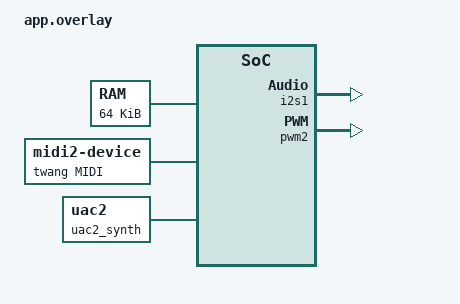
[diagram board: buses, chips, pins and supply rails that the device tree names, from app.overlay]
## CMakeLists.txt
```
# twang — Cortex-M85 audio-core image.
#
# Builds the portable engine (engine/) into a Zephyr application for the
# EK-RA8D2. No desktop dependencies (SDL/RtMidi/miniaudio) here; the control
# (M33) image is a separate application.

cmake_minimum_required(VERSION 3.20.0)

find_package(Zephyr REQUIRED HINTS $ENV{ZEPHYR_BASE})
project(twang_cm85)

# Portable audio engine — the C++ core shared with the desktop build.
set(ENGINE_DIR ${CMAKE_CURRENT_SOURCE_DIR}/../../../engine)
# The scope ring/tap (audio writes, UI reads) is shared with the cm33 image.
set(CONTROLLER_DIR ${CMAKE_CURRENT_SOURCE_DIR}/../../../controller)

target_sources(app PRIVATE
    src/main.cc
    src/usb_composite.cc
    ${ENGINE_DIR}/engine.cc
    ${ENGINE_DIR}/engine_audio.cc
    ${ENGINE_DIR}/ipc.cc
    ${ENGINE_DIR}/params.cc
    ${CONTROLLER_DIR}/scope_ring.cc
)

target_include_directories(app PRIVATE ${ENGINE_DIR} ${CONTROLLER_DIR})
```

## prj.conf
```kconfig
# C++ (the engine uses std::atomic, <cmath>, <cstdio> — full libstdc++).
CONFIG_CPP=y
CONFIG_STD_CPP20=y
CONFIG_REQUIRES_FULL_LIBCPP=y

# I2S audio out (SSIE1 + GPT PWM MCLK; the RA drivers auto-enable).
CONFIG_I2S=y
CONFIG_PWM=y
CONFIG_I2S_INIT_PRIORITY=52

# Dual-core IPC mailbox (M33 → M85 event notification).
CONFIG_MBOX=y

# Dual-core boot: the CM85 is the RA8D2 boot core and must release the CM33
# (control/UI) core. Enables R_BSP_SecondaryCoreStart in soc_late_init_hook.
CONFIG_SOC_RA_ENABLE_START_SECOND_CORE=y

# Initialize the external SDRAM (memc driver, POST_KERNEL) before the cm33 is
# released: the cm33 places the shared IPC block, the Panel, and the GLCDC
# framebuffers there. Without it, SDRAM reads return garbage and the panel
# sync faults.
CONFIG_MEMC=y

# USB composite device (UAC2 audio + MIDI 2.0) on the cm85's USB-HS UDC.
CONFIG_USB_DEVICE_STACK_NEXT=y
CONFIG_USBD_AUDIO2_CLASS=y
CONFIG_USBD_MIDI2_CLASS=y
CONFIG_LOG=y

# SEGGER RTT console (J-Link): loss counters + error lines readable over RTT.
CONFIG_USE_SEGGER_RTT=y
CONFIG_RTT_CONSOLE=y
```

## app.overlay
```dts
/*
 * twang cm85 — I2S audio output for the EK-RA8D2.
 *
 * SSIE1 (i2s1) feeds the on-board codec's I2S input; the GPT PWM (pwm2)
 * synthesizes the codec MCLK. 3.072 MHz = 48 kHz x 64, matching the engine's
 * kSampleRate (48000).
 *
 * NOTE: the PWM MCLK needs verification on hardware — if the GPT cannot
 * synthesize 3.072 MHz within the SSIE driver's tolerance, the frame rate
 * must be reconciled (re-tune the PWM, or run the engine at 44.1 kHz).
 */

#include <zephyr/dt-bindings/pwm/pwm.h>
#include <zephyr/dt-bindings/usb/audio.h>

/ {
	aliases {
		i2s-tx = &i2s1;
	};

	chosen {
		zephyr,dtcm = &dtcm;
	};

	// The audio engine's DSP state lives in the Cortex-M85 DTCM (tightly
	// coupled, per-core data memory): fast and off the shared SDRAM. The
	// chosen zephyr,dtcm node turns on the generic linker's .dtcm_bss section.
	dtcm: memory@20000000 {
		compatible = "zephyr,memory-region", "arm,dtcm";
		reg = <0x20000000 DT_SIZE_K(64)>;
		zephyr,memory-region = "DTCM";
	};
};

&pinctrl {
	ssie1_default: ssie1_default {
		group1 {
			/* SSI_BCK SSI_LRCK SSI_DATA */
			psels = <RA_PSEL(RA_PSEL_SSIE, 7, 2)>,
				<RA_PSEL(RA_PSEL_SSIE, 7, 1)>,
				<RA_PSEL(RA_PSEL_SSIE, 7, 0)>;
			drive-strength = "high";
		};
	};

	pwm2_default: pwm2_default {
		group1 {
			/* GTIOC2A */
			psels = <RA_PSEL(RA_PSEL_GPT1, 7, 13)>;
			drive-strength = "medium";
		};
	};
};

&i2s1 {
	pinctrl-0 = <&ssie1_default>;
	pinctrl-names = "default";
	interrupts = <95 1>, <94 1>;
	interrupt-names = "ssi_rt", "ssi_if";
	status = "okay";
	clocks = <&pclkb MSTPC 7>, <&ssi_internal_clock 0>;
	clock-names = "pclk", "audio-clock";
};

&pwm2 {
	pinctrl-0 = <&pwm2_default>;
	pinctrl-names = "default";
	interrupts = <93 1>, <92 1>;
	interrupt-names = "gtioca", "overflow";
	status = "okay";

	ssi_internal_clock: pwmclock {
		status = "okay";
		compatible = "pwm-clock";
		#clock-cells = <1>;
		pwms = <&pwm2 0 PWM_HZ(3072000) PWM_POLARITY_NORMAL>;
	};
};

/* Dual-core IPC: M33 → M85 notification (events pending on the shared ring).
 * The driver links EVENT_IPC_IRQ0 to this vector at runtime, so the number is
 * arbitrary — 29 is free (wired IRQs: 0..28, 92..95). */
&mbox0 {
	status = "okay";
	interrupts = <29 1>;
};

/*
 * Composite USB device on the board's USB-HS UDC (zephyr_udc0): UAC2 audio
 * (source-only instrument → host) + USB MIDI 2.0 (host → instrument).
 */

/ {
	usb_midi: usb_midi {
		compatible = "zephyr,midi2-device";
		status = "okay";
		#address-cells = <1>;
		#size-cells = <1>;
		label = "twang MIDI";

		midi_in_out@0 {
			reg = <0 1>;
			protocol = "midi1-up-to-128b";
			label = "MIDI-IN-OUT";
		};
	};

	uac2_synth: usb_audio2 {
		compatible = "zephyr,uac2";
		status = "okay";
		full-speed;
		high-speed;
		audio-function = <AUDIO_FUNCTION_MUSICAL_INSTRUMENT>;

		uac_aclk: aclk {
			compatible = "zephyr,uac2-clock-source";
			clock-type = "internal-fixed";
			frequency-control = "read-only";
			sampling-frequencies = <48000>;
		};

		/* The engine's audio output: the source entering the function. */
		engine_input: engine_input {
			compatible = "zephyr,uac2-input-terminal";
			clock-source = <&uac_aclk>;
			terminal-type = <INPUT_TERMINAL_UNDEFINED>;
			front-left;
			front-right;
		};

		/* Audio leaves the function to the host (device -> host capture). */
		usb_out: usb_out {
			compatible = "zephyr,uac2-output-terminal";
			data-source = <&engine_input>;
			clock-source = <&uac_aclk>;
			terminal-type = <USB_TERMINAL_STREAMING>;
		};

		/* One async isochronous IN stream; no feedback (source only). */
		as_iso_in: in_interface {
			compatible = "zephyr,uac2-audio-streaming";
			linked-terminal = <&usb_out>;
			subslot-size = <2>;
			bit-resolution = <16>;
		};
	};
};
```

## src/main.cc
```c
// twang cm85 — engine bring-up with USB audio output.
//
// Renders the engine (48 kHz, block-oriented) and streams it to the host over
// the UAC2 capture endpoint. The render clock is the SSIE I2S DMA: each
// completed transfer releases a tx_slab block, and the render loop refills it
// — so the SSIE's BCLK/WCLK (derived from the GPT PWM MCLK) paces the synth
// at exactly the 48 kHz the UAC2 descriptor claims. The on-board codec's J38
// analog output is unfitted; the I2S is used as the clock, not the sound
// output. The scope tap stays as the engine-vs-USB discriminator.

#include <errno.h>
#include <cstring>
#include <zephyr/device.h>
#include <zephyr/drivers/i2s.h>
#include <zephyr/kernel.h>
#include <zephyr/sys/printk.h>

#include "engine_audio.h"
#include "loss_counters.h"
#include "midi_ring.h"
#include "scope_tap.h"
#include "sdram_map.h"
#include "usb_composite.h"

namespace {

/// I2S frame: 16-bit stereo. One render block (64 mono frames) -> 64 frames.
constexpr int kFramesPerBlock = engine::kBlockSize;
constexpr int kBlockBytes = kFramesPerBlock * 2 * sizeof(int16_t);  // 256 B

/// In-flight DMA blocks; each is only 256 B, so a few is plenty.
constexpr int kNumBlocks = 4;

// Justified exception, not a pattern -- tx_slab is a Zephyr kernel memory slab:
// K_MEM_SLAB_DEFINE expands to a kernel object that must have static storage
// duration (it is registered with the kernel at build time, and the I2S driver
// holds a pointer to it for the process lifetime).
K_MEM_SLAB_DEFINE(tx_slab, WB_UP(kBlockBytes), kNumBlocks, 4);

/// The audio engine's complete DSP state. Static storage in DTCM (fast,
/// per-core tightly-coupled memory): the .dtcm_bss section attribute keeps the
/// ~3.5 KB struct off the small main-thread stack and off the shared SDRAM.
/// Zero-initialized by the C runtime (NOLOAD section).
engine::EngineAudio audio __attribute__((section(".dtcm_bss")));

/// Render one engine block into `buf` and tap the samples into the shared
/// scope ring so the UI core (cm33) can draw the scope.
void RenderTap(float *buf, ScopeTap *tap)
{
    engine::Render(audio, buf, engine::kBlockSize);
    tap->ring.Write(buf, engine::kBlockSize);
    tap->dirty.store(true, std::memory_order_relaxed);
}

/// Convert a mono float block into an interleaved 16-bit stereo block.
void ConvertToI16(const float *buf, int16_t *out)
{
    for (int i = 0; i < engine::kBlockSize; ++i) {
        float s = buf[i];
        if (s > 1.0f) s = 1.0f;
        if (s < -1.0f) s = -1.0f;
        const int16_t v = static_cast<int16_t>(s * 32767.0f);
        out[2 * i] = v;      // left
        out[2 * i + 1] = v;  // right (mono duplicated)
    }
}

}  // namespace

int main(void)
{
    // Reset the shared MIDI rings + loss counters before USB init. This core
    // (the producer) is the single owner of the rings; the cm33's control
    // thread waits on the boot magic before its first drain. Doing this here —
    // not inside usb::Init() — keeps it unconditional: usb::Init() can return
    // early on a failed device_is_ready and would otherwise leave the rings
    // uninitialized for the cm33's drain.
    reinterpret_cast<NoteRing *>(kNoteRingAddr)->Reset();
    reinterpret_cast<CcRing *>(kCcRingAddr)->Reset();
    LossCounters *loss = reinterpret_cast<LossCounters *>(kLossCountersAddr);
    loss->Reset();
    loss->boot_magic.store(kBootMagic, std::memory_order_release);

    // Bring up the composite USB device (UAC2 audio + MIDI 2.0). Best-effort:
    // the render + scope continue even if USB fails to enumerate.
    if (usb::Init() != 0) {
        printk("usb: composite init failed\n");
    }

    const struct device *i2s = DEVICE_DT_GET(DT_ALIAS(i2s_tx));
    if (device_is_ready(i2s)) {
        struct i2s_config cfg = {};
        cfg.word_size = 16U;
        cfg.channels = 2U;
        cfg.format = I2S_FMT_DATA_FORMAT_I2S;
        cfg.frame_clk_freq = engine::kSampleRate;  // 48000 Hz
        cfg.block_size = kBlockBytes;
        cfg.timeout = 1000;  // ms, not a k_timeout_t
        cfg.options = I2S_OPT_FRAME_CLK_CONTROLLER | I2S_OPT_BIT_CLK_CONTROLLER;
        cfg.mem_slab = &tx_slab;

        if (i2s_configure(i2s, I2S_DIR_TX, &cfg) < 0) {
            printk("i2s: configure failed\n");
        }

        // Prime the TX queue: START pulls one block with K_NO_WAIT and latches
        // I2S_STATE_ERROR (-ENOMEM) if the queue is empty, after which every
        // START returns -EIO until a PREPARE. Two silent blocks give the
        // driver one to send and one queued for the ISR to pick up.
        for (int i = 0; i < 2; ++i) {
            void *blk;
            if (k_mem_slab_alloc(&tx_slab, &blk, K_NO_WAIT) == 0) {
                std::memset(blk, 0, kBlockBytes);
                i2s_write(i2s, blk, kBlockBytes);
            }
        }

        const int rc = i2s_trigger(i2s, I2S_DIR_TX, I2S_TRIGGER_START);
        if (rc < 0) {
            printk("i2s: start failed %d\n", rc);
        }
    } else {
        printk("i2s: device not ready\n");
    }

    // Point the audio engine at the shared IPC block (fixed SDRAM address).
    // The control core (cm33) owns EngineControl: it has seeded the default
    // routes and queued the A4 test note; this core only renders.
    audio.ipc = reinterpret_cast<engine::SharedIpc *>(kSharedIpcAddr);

    // Reset the shared events + params before the render loop: this core's
    // render loop starts before the cm33 has run EngineControl::Init, so this
    // is the cold-boot safeguard against consuming uninitialized-SDRAM note
    // events and params. It is not "idempotent" — the two resets are safe
    // because each core resets before it begins its own side: the cm33
    // (producer) resets in EngineControl::Init before producing, and this core
    // (consumer) resets here before rendering. Neither resets while the other
    // is mid-flight.
    audio.ipc->events.Reset();
    audio.ipc->params.Reset(engine::k_params);

    // Reset the shared scope tap (fixed SDRAM address) before the render loop:
    // the SDRAM backing is uninitialized until a producer runs this.
    ScopeTap *tap = reinterpret_cast<ScopeTap *>(kScopeTapAddr);
    tap->Reset();

    // Render at the engine block rate, clocked by the SSIE I2S DMA: each
    // completed transfer returns a tx_slab block, and this loop refills it.
    // The scope tap is written in the same loop, so it animates at the render
    // rate. If the DMA never completes (clock fault), this loop blocks on
    // k_mem_slab_alloc after 4 blocks and the scope tap freezes — the
    // on-board diagnostic for the MCLK.
    for (;;) {
        void *blk;
        k_mem_slab_alloc(&tx_slab, &blk, K_FOREVER);

        int16_t *stereo = static_cast<int16_t *>(blk);
        float buf[engine::kBlockSize];
        RenderTap(buf, tap);
        ConvertToI16(buf, stereo);

        // Feed the UAC2 capture stream (the SOF callback drains it to the
        // host), then hand the block back to the SSIE DMA.
        usb::AudioPush(stereo, engine::kBlockSize);
        i2s_write(i2s, blk, kBlockBytes);
    }
    return 0;
}
```

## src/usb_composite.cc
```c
// USB composite device: UAC2 capture (source-only instrument) + MIDI 2.0.
//
// Register order is load-bearing: UAC2 must own interface 0 (see the brief's
// class-order note) or snd-usb-audio exposes no PCM device. The UAC2 audio
// stream is source-only: the render loop pushes int16-stereo blocks into a
// FIFO, and the SOF callback drains ~6 frames per HS microframe into
// usbd_uac2_send() — an asynchronous IN stream with no feedback endpoint (the
// host adapts to the device rate). See the brief §7.

#include "usb_composite.h"

#include <zephyr/usb/usbd.h>
// usbd_uac2.h lacks extern "C" guards (its declarations get C++ linkage when
// included from C++ and no longer resolve against the C definitions in
// usbd_uac2.c). Wrap it so the unmangled C symbols resolve.
extern "C" {
#include <zephyr/usb/class/usbd_uac2.h>
}
#include <zephyr/usb/class/usbd_midi2.h>
#include <zephyr/device.h>
#include <zephyr/devicetree.h>
#include <zephyr/kernel.h>
#include <zephyr/logging/log.h>
#include <zephyr/sys/util.h>

#include <atomic>
#include <cstdint>

#include "midi_ring.h"
#include "loss_counters.h"
#include "sdram_map.h"

LOG_MODULE_REGISTER(usb_composite, LOG_LEVEL_INF);

namespace {

// Terminal IDs are auto-assigned from the uac2_synth children order: aclk=1,
// engine_input=2, usb_out=3 (see app.overlay).
constexpr uint8_t kUsbOutTerminalId = 3;

// HS async IN: 6 stereo frames per 125 us microframe (nominal 48 kHz).
constexpr int kChannels = 2;
constexpr int kNominalFrames = 6;
constexpr int kMaxSendFrames = 8;   // allow 5..7 for drift
constexpr int kSendBytes = kMaxSendFrames * kChannels * sizeof(int16_t);  // 32

// Render -> USB FIFO of int16 stereo frames. Producer = render loop (main
// thread); consumer = SOF callback. Lock-free SPSC ring (monotonic indices).
constexpr int kFifoFrames = 512;  // power of two, ~10.7 ms at 48 kHz
constexpr int kFifoMask = kFifoFrames - 1;

struct Fifo {
    std::atomic<uint32_t> write{0};
    std::atomic<uint32_t> read{0};
    int16_t data[kFifoFrames * kChannels];
};

Fifo audio_fifo;

int FifoLevel()
{
    return static_cast<int>(audio_fifo.write.load(std::memory_order_relaxed) -
                            audio_fifo.read.load(std::memory_order_relaxed));
}

void FifoPush(const int16_t *stereo, int frames)
{
    const uint32_t w = audio_fifo.write.load(std::memory_order_relaxed);
    const uint32_t r = audio_fifo.read.load(std::memory_order_acquire);
    const uint32_t free = kFifoFrames - (w - r);
    if (static_cast<uint32_t>(frames) > free) {
        reinterpret_cast<LossCounters *>(kLossCountersAddr)
            ->fifo_overflow_frames.fetch_add(
                static_cast<uint32_t>(frames) - free,
                std::memory_order_relaxed);
        frames = static_cast<int>(free);  // drop on overflow (render faster)
    }
    for (int i = 0; i < frames; i++) {
        const uint32_t idx = (w + i) & kFifoMask;
        audio_fifo.data[idx * kChannels] = stereo[i * kChannels];
        audio_fifo.data[idx * kChannels + 1] = stereo[i * kChannels + 1];
    }
    audio_fifo.write.store(w + frames, std::memory_order_release);
}

int FifoPop(int16_t *stereo, int max_frames)
{
    const uint32_t r = audio_fifo.read.load(std::memory_order_relaxed);
    const uint32_t w = audio_fifo.write.load(std::memory_order_acquire);
    const uint32_t avail = w - r;
    const int n = (avail < static_cast<uint32_t>(max_frames))
                      ? static_cast<int>(avail)
                      : max_frames;
    for (int i = 0; i < n; i++) {
        const uint32_t idx = (r + i) & kFifoMask;
        stereo[i * kChannels] = audio_fifo.data[idx * kChannels];
        stereo[i * kChannels + 1] = audio_fifo.data[idx * kChannels + 1];
    }
    audio_fifo.read.store(r + n, std::memory_order_release);
    return n;
}

// Send buffers: usbd_uac2_send() references (does not copy) the buffer until
// buf_release_cb fires, so each send needs its own UDC-aligned persistent
// block. The slab is ISR-safe (K_NO_WAIT alloc / free) and the alignment keeps
// the buffers DMA/cache safe.
K_MEM_SLAB_DEFINE(send_slab, kSendBytes, 4, 32);

int SamplesToSend()
{
    // Drift compensation: steer the FIFO toward ~32 frames (~0.7 ms). The
    // render timer (~48012 Hz) runs slightly fast vs the host's 48 kHz, so
    // the FIFO otherwise grows without bound.
    const int level = FifoLevel();
    if (level > 64) return 7;
    if (level < 8)  return 5;
    return kNominalFrames;
}

// The async-IN send path is driven by buf_release_cb — it fires once per
// packet the host reads — NOT by SOF (the FSP SOF is a one-shot resume
// detector, armed only while suspended, so USBD_EVENT_SOF never arrives in
// normal operation; see the brief §7 note) and NOT by a free-running timer
// (which would drift against the host's IN tokens). Each completed packet
// enqueues the next, so the send rate tracks the host's consumption exactly.
//
// Priming is deferred to a work item: the driver calls terminal_update_cb
// BEFORE it sets as_active (usbd_uac2.c), so sending synchronously here would
// hit usbd_uac2_send()'s "not active" path, which calls buf_release_cb
// synchronously — an infinite recursion. The work runs after the SET_INTERFACE
// handler finishes (as_active set).
std::atomic<bool> terminal_enabled{false};  // set/cleared in terminal_update_cb
const struct device *g_uac2_dev = NULL;
constexpr int kTargetInFlight = 2;  // packets kept in flight (== slab depth)
struct k_work prime_work;  // prime on enable
struct k_work send_work;   // top-up on completion

// Dedicated send work queue: serializes SendPacket (PrimeHandler + SendHandler)
// off the shared system workqueue, which also runs logging and the USB stack.
K_THREAD_STACK_DEFINE(audio_queue_stack, 1024);
struct k_work_q audio_queue;

// @return true if a packet was sent (its slab block is now in flight);
//         false on any failure (no block available, or send rejected).
bool SendPacket(const struct device *dev)
{
    if (!terminal_enabled.load(std::memory_order_relaxed)) {
        return false;  // host disabled the stream
    }

    void *buf;
    if (k_mem_slab_alloc(&send_slab, &buf, K_NO_WAIT) != 0) {
        return false;  // all send buffers in flight; the next buf_release_cb drives it
    }

    int16_t *p = static_cast<int16_t *>(buf);
    const int n = SamplesToSend();
    const int got = FifoPop(p, n);
    // Short packet on underrun: send the frames actually produced, never a
    // zero-padded splice (zero-padding injects silence discontinuities).
    // got == 0 sends a zero-length packet.
    const int rc = usbd_uac2_send(dev, kUsbOutTerminalId, buf,
                                  got * kChannels * sizeof(int16_t));
    if (rc != 0) {
        k_mem_slab_free(&send_slab, buf);  // send rejected; return the buffer
        return false;
    }
    return true;
}

// Top up in-flight sends to kTargetInFlight. Self-healing: runs after any
// release (buf_release_cb) or re-enable (terminal_update_cb) and sends until
// the slab used-count — the in-flight count by construction — reaches target.
// The single audio_queue serializes SendPacket, so no re-entrancy guard.
void TopUpSends()
{
    while (g_uac2_dev && terminal_enabled.load(std::memory_order_relaxed) &&
           k_mem_slab_num_used_get(&send_slab) < kTargetInFlight) {
        if (!SendPacket(g_uac2_dev)) {
            break;
        }
    }
}

void PrimeHandler(struct k_work *work)
{
    ARG_UNUSED(work);
    TopUpSends();  // prime the stream on enable
}

void SendHandler(struct k_work *work)
{
    ARG_UNUSED(work);
    TopUpSends();  // top-up on completion
}

void Uac2SofCb(const struct device *dev, void *user_data)
{
    // FSP SOF never fires in normal operation (one-shot resume detector).
    ARG_UNUSED(dev);
    ARG_UNUSED(user_data);
}

void Uac2TerminalCb(const struct device *dev, uint8_t terminal, bool enabled,
                    bool microframes, void *user_data)
{
    ARG_UNUSED(terminal);
    ARG_UNUSED(microframes);
    ARG_UNUSED(user_data);

    terminal_enabled.store(enabled, std::memory_order_relaxed);
    if (enabled) {
        // Deferred: as_active is set only after this callback returns.
        k_work_submit_to_queue(&audio_queue, &prime_work);
    }
}

void Uac2BufReleaseCb(const struct device *dev, uint8_t terminal, void *buf,
                      void *user_data)
{
    ARG_UNUSED(dev);
    ARG_UNUSED(terminal);
    ARG_UNUSED(user_data);

    k_mem_slab_free(&send_slab, buf);  // the completed packet's buffer
    // Deferred: uac2_request frees the net_buf back to uac2_pool only AFTER
    // this callback returns, so re-enqueueing here would hit -ENOMEM (the pool
    // is 2 buffers). The work runs after the free, so the alloc succeeds.
    k_work_submit_to_queue(&audio_queue, &send_work);
}

const struct uac2_ops kUac2Ops = {
    .sof_cb = Uac2SofCb,
    .terminal_update_cb = Uac2TerminalCb,
    .buf_release_cb = Uac2BufReleaseCb,
};

// MIDI 2.0 rx: classify each packet's first UMP word and push it to the note
// ring (notes + CC 123) or the CC ring (everything else). Single-word UMP
// (MIDI 1.0 channel voice) is the X-Touch's only traffic; the cm33 drains the
// note ring first and feeds the interaction layer (surface map).
void MidiRxCb(const struct device *dev, const struct midi_ump ump)
{
    ARG_UNUSED(dev);
    const std::uint32_t word = ump.data[0];
    if (IsNoteWord(word)) {
        NoteRing *note = reinterpret_cast<NoteRing *>(kNoteRingAddr);
        if (!note->Push(word)) {
            reinterpret_cast<LossCounters *>(kLossCountersAddr)
                ->note_ring_full.fetch_add(1, std::memory_order_relaxed);
        }
    } else {
        CcRing *cc = reinterpret_cast<CcRing *>(kCcRingAddr);
        if (!cc->Push(word)) {
            reinterpret_cast<LossCounters *>(kLossCountersAddr)
                ->cc_ring_full.fetch_add(1, std::memory_order_relaxed);
        }
    }
}

const struct usbd_midi_ops kMidiOps = {
    .rx_packet_cb = MidiRxCb,
};

// The composite device context. VID/PID are the Zephyr sample values (the
// prototype has no purchased vendor ID).
USBD_DEVICE_DEFINE(twang_usbd, DEVICE_DT_GET(DT_NODELABEL(zephyr_udc0)),
                   0x2fe3, 0x000f);

USBD_DESC_LANG_DEFINE(twang_lang);
USBD_DESC_MANUFACTURER_DEFINE(twang_mfr, "twang");
USBD_DESC_PRODUCT_DEFINE(twang_product, "twang");

USBD_DESC_CONFIG_DEFINE(twang_fs_cfg, "FS Configuration");
USBD_DESC_CONFIG_DEFINE(twang_hs_cfg, "HS Configuration");

USBD_CONFIGURATION_DEFINE(twang_fs_config, USB_SCD_SELF_POWERED, 250,
                          &twang_fs_cfg);
USBD_CONFIGURATION_DEFINE(twang_hs_config, USB_SCD_SELF_POWERED, 250,
                          &twang_hs_cfg);

/// Register both classes for one speed, UAC2 first (load-bearing order).
int RegisterClasses(struct usbd_context *ctx, enum usbd_speed speed)
{
    int err;

    err = usbd_register_class(ctx, "uac2_0", speed, 1);
    if (err) {
        LOG_ERR("register uac2_0 (%d): %d", speed, err);
        return err;
    }
    err = usbd_register_class(ctx, "midi_0", speed, 1);
    if (err) {
        LOG_ERR("register midi_0 (%d): %d", speed, err);
        return err;
    }
    return 0;
}

}  // namespace

namespace usb {

void AudioPush(const int16_t *stereo, int frames)
{
    FifoPush(stereo, frames);
}

int Init()
{
    const struct device *uac2 = DEVICE_DT_GET(DT_NODELABEL(uac2_synth));
    const struct device *midi = DEVICE_DT_GET(DT_NODELABEL(usb_midi));
    const struct device *udc = DEVICE_DT_GET(DT_NODELABEL(zephyr_udc0));
    int err;

    if (!device_is_ready(udc)) {
        LOG_ERR("UDC not ready");
        return -ENODEV;
    }
    if (!device_is_ready(uac2)) {
        LOG_ERR("uac2 device not ready");
        return -ENODEV;
    }
    if (!device_is_ready(midi)) {
        LOG_ERR("midi device not ready");
        return -ENODEV;
    }

    // Mandatory: uac2_init() fails with -EINVAL if ops are unset.
    usbd_uac2_set_ops(uac2, &kUac2Ops, NULL);
    g_uac2_dev = uac2;
    k_work_init(&prime_work, PrimeHandler);
    k_work_init(&send_work, SendHandler);
    k_work_queue_start(&audio_queue, audio_queue_stack,
                       K_THREAD_STACK_SIZEOF(audio_queue_stack), 5, NULL);

    // MIDI 2.0 rx -> control core over the two shared rings. The rings are
    // reset by cm85/main.cc (the single owner) before usb::Init(); here we
    // only register the rx callback that begins producing into them.
    usbd_midi_set_ops(midi, &kMidiOps);

    err = usbd_add_descriptor(&twang_usbd, &twang_lang);
    if (err) {
        LOG_ERR("add lang descriptor: %d", err);
        return err;
    }
    err = usbd_add_descriptor(&twang_usbd, &twang_mfr);
    if (err) {
        LOG_ERR("add manufacturer descriptor: %d", err);
        return err;
    }
    err = usbd_add_descriptor(&twang_usbd, &twang_product);
    if (err) {
        LOG_ERR("add product descriptor: %d", err);
        return err;
    }

    err = usbd_add_configuration(&twang_usbd, USBD_SPEED_HS,
                                 &twang_hs_config);
    if (err) {
        LOG_ERR("add HS configuration: %d", err);
        return err;
    }
    err = RegisterClasses(&twang_usbd, USBD_SPEED_HS);
    if (err) {
        return err;
    }

    err = usbd_add_configuration(&twang_usbd, USBD_SPEED_FS,
                                 &twang_fs_config);
    if (err) {
        LOG_ERR("add FS configuration: %d", err);
        return err;
    }
    err = RegisterClasses(&twang_usbd, USBD_SPEED_FS);
    if (err) {
        return err;
    }

    // Multi-interface composite: the device code triple must advertise the
    // interface-association descriptor (misc class, common subclass, IAD).
    usbd_device_set_code_triple(&twang_usbd, USBD_SPEED_HS,
                                USB_BCC_MISCELLANEOUS, 0x02, 0x01);
    usbd_device_set_code_triple(&twang_usbd, USBD_SPEED_FS,
                                USB_BCC_MISCELLANEOUS, 0x02, 0x01);
    usbd_self_powered(&twang_usbd, true);

    err = usbd_init(&twang_usbd);
    if (err) {
        LOG_ERR("usbd_init: %d", err);
        return err;
    }

    err = usbd_enable(&twang_usbd);
    if (err) {
        LOG_ERR("usbd_enable: %d", err);
        return err;
    }

    LOG_INF("composite USB device enabled (UAC2 capture + MIDI 2.0)");
    return 0;
}

}  // namespace usb
```

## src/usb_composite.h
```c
// USB composite device (UAC2 capture + MIDI 2.0) setup for the cm85 image.
//
// The board's single UDC lives on cm85 (USB-HS); both classes register on it.
// Register order is load-bearing: UAC2 must own interface 0 (see the brief's
// class-order note) or snd-usb-audio exposes no PCM device.

#pragma once

#include <cstdint>

namespace usb {

/// Set up and enable the composite USB device (UAC2 capture + MIDI 2.0).
/// @return 0 on success, negative errno on failure.
int Init();

/// Push rendered int16-stereo frames into the UAC2 audio FIFO. Called by the
/// render loop (main thread); the SOF callback drains it to the host.
/// @param stereo Interleaved int16 stereo samples (2 channels per frame).
/// @param frames Number of frames to push.
void AudioPush(const int16_t *stereo, int frames);

}  // namespace usb
```
